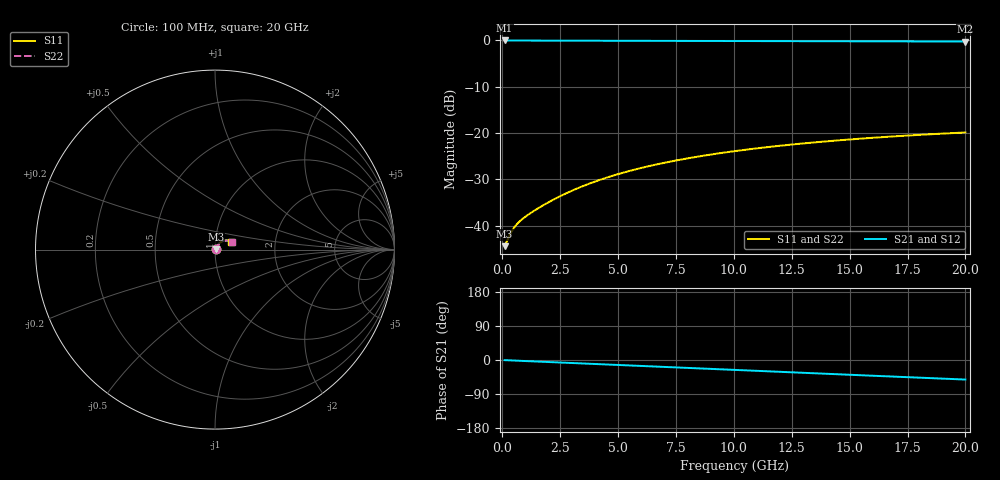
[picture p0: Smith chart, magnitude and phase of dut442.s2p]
! Touchstone file exported from HFSS 2026.1.0
!  File:  C:/ffzhzh/LocalFiles/Ansys_Project_Files/temp_train_TMRDL_442_1783005659_46388.aedt
!  Generated:  11:22:22 PM Jul  2, 2026
!  Design:  TMRDL
!  Project:  temp_train_TMRDL_442_1783005659_46388
! Variables:
!  h_bsmrdl = 2um
!  h_ox = 20um
!  h_rdl = 5um
!  h_sub = 80um
!  h_tmrdl = 2.92um
!  h_tsv = 80um
!  h_via = 3um
!  l_bsmrdl = 300um
!  l_sub = 1321.87um
!  l_tmrdl = 921.87um
!  m_sub = 200um
!  pitch = 24.71um
!  r_tsv = 6um
!  s_tmrdl = 10um
!  w_bsmrdl = 18um
!  w_sub = 500um
!  w_tmrdl = 19.83um
!  x_tsv_center1 = 931.785um
!  x_tsv_center2 = 1249.785um
!  x_tsv_center3 = 2191.485um
!  x_tsv_center4 = 2509.485um
!  x_tsv_center5 = 3451.185um
!  x_tsv_center6 = 3769.185um
# GHz S MA R 50.000000
! Terminal data exported
! Port[1] = TM_RDL1_1_T1
! Port[2] = TM_RDL1_1_T2
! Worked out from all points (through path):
!   200 points, 100 MHz to 20 GHz, reference 50 ohm
!   highest |S21| = -0.05 dB at 100 MHz (marker M1); lowest = -0.3 dB at 20 GHz (marker M2)
!   group delay of S21, straight-line fit = 7.15 ps
!   lowest |S11| = -44.4 dB at 100 MHz (marker M3), VSWR 1.01, Z = 50.6 + j0.144 ohm
!   |S11| at or under -10 dB: start of sweep to end of sweep
!   |S22| runs from -44.4 to -19.8 dB; largest |S21 - S12| = 3.4e-15
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0.1  0.006049 13.6  0.9941 -0.3  0.9941 -0.3  0.006049 13.6
! Gamma 0 0 0 0
! Port Impedance 50 0 50 0
0.3  0.007773 29.1  0.9933 -0.9  0.9933 -0.9  0.007773 29.1
0.4  0.008687 32.4  0.9927 -1.2  0.9927 -1.2  0.008688 32.4
0.5  0.009508 34.5  0.9923 -1.5  0.9923 -1.5  0.00951 34.5
0.6  0.01023 36.1  0.9919 -1.7  0.9919 -1.7  0.01024 36.1
0.7  0.01089 37.4  0.9916 -2.0  0.9916 -2.0  0.01089 37.4
1  0.01259 41.0  0.9909 -2.8  0.9909 -2.8  0.01259 41.0
1.5  0.01523 46.4  0.9902 -4.1  0.9902 -4.1  0.01524 46.4
2.2  0.01913 51.8  0.9896 -5.9  0.9896 -5.9  0.01914 51.7
2.8  0.02268 54.5  0.9891 -7.5  0.9891 -7.5  0.0227 54.4
3.5  0.02694 56.2  0.9885 -9.3  0.9885 -9.3  0.02696 56.1
4.2  0.03124 56.7  0.9877 -11.2  0.9877 -11.2  0.03126 56.6
5  0.03612 56.5  0.9868 -13.3  0.9868 -13.3  0.03615 56.4
5.9  0.0415 55.6  0.9857 -15.6  0.9857 -15.6  0.04154 55.5
6.8  0.04672 54.3  0.9845 -18.0  0.9845 -18.0  0.04677 54.1
8.4  0.05553 51.2  0.9823 -22.1  0.9823 -22.1  0.05561 51.0
10.1  0.0642 47.6  0.9799 -26.5  0.9799 -26.5  0.0643 47.4
11.7  0.07171 44.1  0.9776 -30.6  0.9776 -30.6  0.07184 43.8
13.4  0.07903 40.2  0.9754 -34.9  0.9754 -34.9  0.0792 39.8
15  0.08533 36.5  0.9734 -39.0  0.9734 -39.0  0.08553 36.1
16.7  0.09141 32.6  0.9715 -43.3  0.9715 -43.3  0.09165 32.2
20  0.1014 25.1  0.9681 -51.6  0.9681 -51.6  0.1018 24.5
